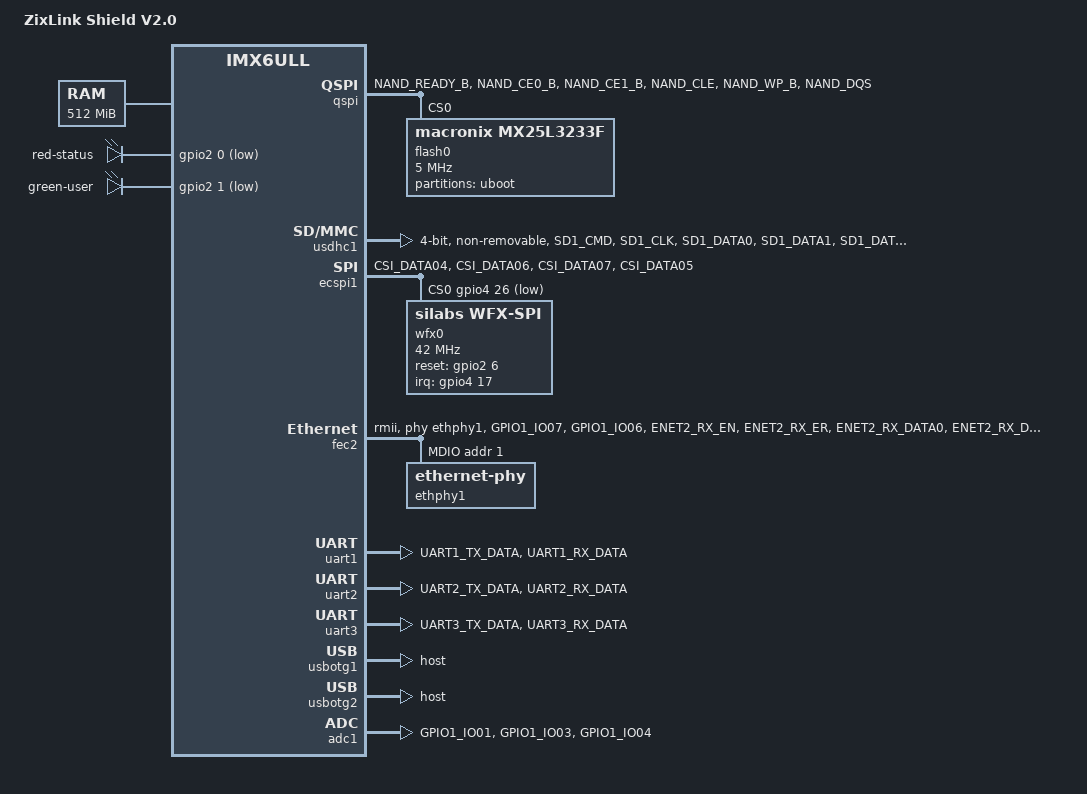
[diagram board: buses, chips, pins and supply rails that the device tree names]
/*
 * Copyright (C) 2020 ZixLink, LLC.
 *
 * This program is free software; you can redistribute it and/or modify
 * it under the terms of the GNU General Public License version 2 as
 * published by the Free Software Foundation.
 */

/dts-v1/;

#include <dt-bindings/input/input.h>
#include "imx6ull.dtsi"

/ {
	model = "ZixLink Shield V2.0";
	compatible = "fsl,zl-shield2", "fsl,imx6ull";

	chosen {
		stdout-path = &uart1;
	};

	memory {
		reg = <0x80000000 0x20000000>;
	};
	
	gpio-leds {
		compatible = "gpio-leds";
		pinctrl-names = "default";
		pinctrl-0 = <&pinctrl_leds>;

		status {
			label = "red-status";
			linux,default-trigger = "heartbeat";
			gpios = <&gpio2 0 GPIO_ACTIVE_LOW>;
		};

		user {
			label = "green-user";
			gpios = <&gpio2 1 GPIO_ACTIVE_LOW>;
		};
	};
};

&qspi {
	pinctrl-names = "default";
	pinctrl-0 = <&pinctrl_qspi>;
	status = "okay";
	ddrsmp=<0>;

	flash0: mx25l3233f@0 {
		#address-cells = <1>;
		#size-cells = <1>;
		compatible = "macronix,mx25l3233f";
		spi-max-frequency = <5000000>;
		/*spi-nor,ddr-quad-read-dummy = <6>;*/
		m25p,fast-read;
		reg = <0>;
		
		partitions {
			compatible = "fixed-partitions";
			#address-cells = <1>;
			#size-cells = <1>;

			partition@0 {
				label = "uboot";
				reg = <0x00000000 0x00400000>;
			};
		};
	};
};

&usdhc1 {
	pinctrl-names = "default";
	pinctrl-0 = <&pinctrl_usdhc1>;
	keep-power-in-suspend;

	bus-width = <4>;
	max-frequency = <50000000>;
	no-1-8-v;
	/*cd-gpios = <&gpio5 3 GPIO_ACTIVE_LOW>;*/
	non-removable;
	disable-wp;

	status = "okay";
};

&ecspi1 {
	pinctrl-names = "default";
	pinctrl-0 = <&pinctrl_ecspi1>;
	fsl,spi-num-chipselects = <1>;
	cs-gpios = <&gpio4 26 GPIO_ACTIVE_LOW>;
	status = "okay";

	#address-cells = <1>;
	#size-cells = <0>;

	wfx0: wfx@0 {
		compatible = "silabs,wfx-spi";
		reg = <0>;
		pinctrl-names = "default";
		pinctrl-0 = <&pinctrl_wfx0>;

		spi-max-frequency = <42000000>;

		reset-gpios = <&gpio2 6 GPIO_ACTIVE_HIGH>;
		interrupts-extended = <&gpio4 17 IRQ_TYPE_EDGE_RISING>;
	};
};

&fec2 {
	pinctrl-names = "default";
	pinctrl-0 = <&pinctrl_enet2>;
	phy-mode = "rmii";
	phy-handle = <&ethphy1>;
	status = "okay";

	mdio {
		#address-cells = <1>;
		#size-cells = <0>;

		ethphy1: ethernet-phy@1 {
			reg = <1>;
			/*micrel,led-mode = <1>;*/
		};
	};
};

/*
LTE_nPWRON   gpio114 E5  GPIO14_IO18
LTE_ON_10SEC  gpio36  E14 GPIO2_IO4
*/

&snvs_poweroff {
	status = "okay";
};

&uart1 {
	pinctrl-names = "default";
	pinctrl-0 = <&pinctrl_uart1>;
	status = "okay";
};

&uart2 {
	pinctrl-names = "default";
	pinctrl-0 = <&pinctrl_uart2>;
	status = "okay";
};

&uart3 {
	pinctrl-names = "default";
	pinctrl-0 = <&pinctrl_uart3>;
	status = "okay";
};

&usbotg1 {
	dr_mode = "host";
	disable-over-current;
	status = "okay";
};

&usbotg2 {
	dr_mode = "host";
	disable-over-current;
	status = "okay";
};

&usbphy1 {
	fsl,tx-d-cal = <106>;
};

&usbphy2 {
	fsl,tx-d-cal = <106>;
};

&adc1 {
	pinctrl-names = "default";
	pinctrl-0 = <&pinctrl_adc1>;
	num-channels = <5>;
	status = "okay";
};

&iomuxc {
	pinctrl-names = "default";

	pinctrl_qspi: qspigrp {
		fsl,pins = <
			MX6UL_PAD_NAND_READY_B__QSPI_A_DATA00 0xf0f9 /* 0x70a1 */
			MX6UL_PAD_NAND_CE0_B__QSPI_A_DATA01   0xf0f9
			MX6UL_PAD_NAND_CE1_B__QSPI_A_DATA02   0xf0f9
			MX6UL_PAD_NAND_CLE__QSPI_A_DATA03     0xf0f9
			MX6UL_PAD_NAND_WP_B__QSPI_A_SCLK      0xf0f9
			MX6UL_PAD_NAND_DQS__QSPI_A_SS0_B      0xf0f9
		>;
	};

	pinctrl_ecspi1: ecspi1grp {
		fsl,pins = <
			MX6UL_PAD_CSI_DATA04__ECSPI1_SCLK		0xF0B0
			MX6UL_PAD_CSI_DATA06__ECSPI1_MOSI		0xF0B0
			MX6UL_PAD_CSI_DATA07__ECSPI1_MISO		0xF0B0
			MX6UL_PAD_CSI_DATA05__GPIO4_IO26		0xF0B0 /* WFX CS */
		>;
	};

	pinctrl_wfx0: wfx0grp {
		fsl,pins = <
			MX6UL_PAD_ENET1_TX_CLK__GPIO2_IO06		0x30B0 /* WFX RESET */
			MX6UL_PAD_CSI_MCLK__GPIO4_IO17			0xF0B0 /* WFX IRQ */
		>;
	};

	pinctrl_usdhc1: usdhc1grp {
		fsl,pins = <
			MX6UL_PAD_SD1_CMD__USDHC1_CMD     0x170f9
			MX6UL_PAD_SD1_CLK__USDHC1_CLK     0x100f9
			MX6UL_PAD_SD1_DATA0__USDHC1_DATA0 0x170f9
			MX6UL_PAD_SD1_DATA1__USDHC1_DATA1 0x170f9
			MX6UL_PAD_SD1_DATA2__USDHC1_DATA2 0x170f9
			MX6UL_PAD_SD1_DATA3__USDHC1_DATA3 0x170f9

			/* card detect */
			MX6UL_PAD_SNVS_TAMPER3__GPIO5_IO03	0x0b0b0
		>;
	};

	pinctrl_enet2: enet2grp {
		fsl,pins = <
			MX6UL_PAD_GPIO1_IO07__ENET2_MDC		0x1b0b0
			MX6UL_PAD_GPIO1_IO06__ENET2_MDIO	0x1b0b0
			MX6UL_PAD_ENET2_RX_EN__ENET2_RX_EN	0x1b0b0
			MX6UL_PAD_ENET2_RX_ER__ENET2_RX_ER	0x1b0b0
			MX6UL_PAD_ENET2_RX_DATA0__ENET2_RDATA00	0x1b0b0
			MX6UL_PAD_ENET2_RX_DATA1__ENET2_RDATA01	0x1b0b0
			MX6UL_PAD_ENET2_TX_EN__ENET2_TX_EN	0x1b0b0
			MX6UL_PAD_ENET2_TX_DATA0__ENET2_TDATA00	0x1b0b0
			MX6UL_PAD_ENET2_TX_DATA1__ENET2_TDATA01	0x1b0b0
			MX6UL_PAD_ENET2_TX_CLK__ENET2_REF_CLK2	0x4001b031
			
			MX6UL_PAD_ENET1_TX_EN__GPIO2_IO05 0x80000000 /* Keep bootloader configuration */
		>;
	};

	pinctrl_uart1: uart1grp {
		fsl,pins = <
			MX6UL_PAD_UART1_TX_DATA__UART1_DCE_TX 0x1b0b1
			MX6UL_PAD_UART1_RX_DATA__UART1_DCE_RX 0x1b0b1
		>;
	};

	pinctrl_uart2: uart2grp {
		fsl,pins = <
			MX6UL_PAD_UART2_TX_DATA__UART2_DCE_TX	0x1b0b1
			MX6UL_PAD_UART2_RX_DATA__UART2_DCE_RX	0x1b0b1
		>;
	};
	
	pinctrl_uart3: uart3grp {
		fsl,pins = <
			MX6UL_PAD_UART3_TX_DATA__UART3_DCE_TX	0x1b0b1
			MX6UL_PAD_UART3_RX_DATA__UART3_DCE_RX	0x1b0b1
		>;
	};
	
	pinctrl_adc1: adc1grp {
		fsl,pins = <
			MX6UL_PAD_GPIO1_IO01__GPIO1_IO01	0x000b0 /* Pull/Keeper Disabled */
			MX6UL_PAD_GPIO1_IO03__GPIO1_IO03	0x000b0 /* Pull/Keeper Disabled */
			MX6UL_PAD_GPIO1_IO04__GPIO1_IO04	0x000b0 /* Pull/Keeper Disabled */
		>;
	};

	pinctrl_leds: ledsgrp {
		fsl,pins = <
			MX6UL_PAD_ENET1_RX_DATA0__GPIO2_IO00	0x0b0b0
			MX6UL_PAD_ENET1_RX_DATA1__GPIO2_IO01	0x0b0b0
		>;
	};
};
